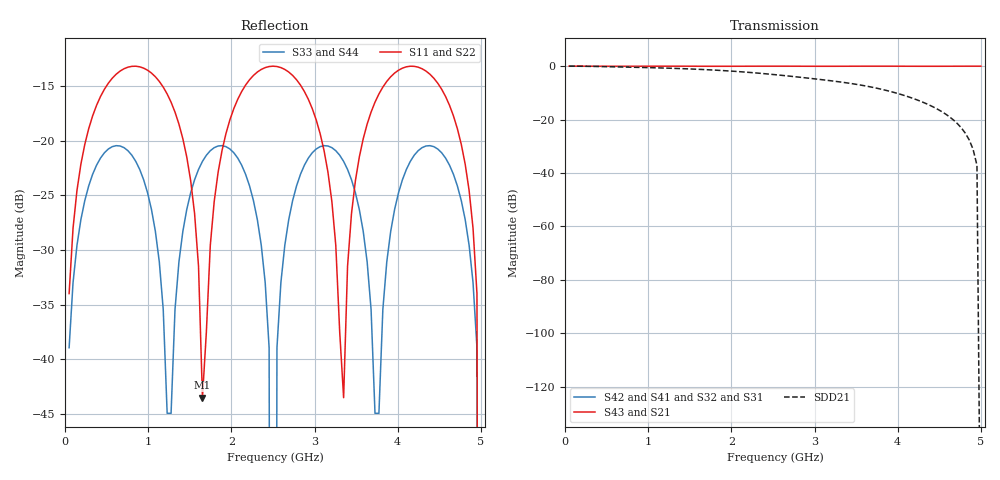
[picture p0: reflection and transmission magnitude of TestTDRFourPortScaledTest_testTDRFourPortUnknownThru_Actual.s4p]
! File created by SignalIntegrity v1.1.3: Signal and Power Integrity Tools
! https://github.com/TeledyneLeCroy/SignalIntegrity
# MHz MA S R 50.0
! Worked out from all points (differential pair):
!   106 points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, 47.17 MHz to 5 GHz, reference 50 ohm
!   strongest paths, dB at 47.17 MHz, 1.274 GHz, 2.547 GHz, 3.774 GHz, 5 GHz:
!     S43: 0.0, 0.0, 0.0, 0.0, 0.0
!     S21: 0.0, -0.1, -0.2, -0.1, 0.0
!     S42: -, -, -, -, -
!     S41: -, -, -, -, -
!     S32: -, -, -, -, -
!     S31: -, -, -, -, -
!   taken as a pair (ports 3,1 in; 4,2 out), SDD21 dB: 0.0, -0.8, -3.3, -8.4, -
!   lowest |S11| = -43.5 dB at 1.651 GHz (marker M1), VSWR 1.01, Z = 50 + j0.666 ohm
!   |S11| at or under -10 dB: start of sweep to end of sweep
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47.16981  0.01997 -95.2  0.9998 -5.2  0 0.0  0 0.0
          0.9998 -5.2  0.01997 -95.2  0 0.0  0 0.0
          0 0.0  0 0.0  0.01129 83.2  0.9999 -6.8
          0 0.0  0 0.0  0.9999 -6.8  0.01129 83.2
1650.943  0.006667 91.7  1 -178.3  0 0.0  0 0.0
          1 -178.3  0.006667 91.7  0 0.0  0 0.0
          0 0.0  0 0.0  0.08045 32.1  0.9968 122.1
          0 0.0  0 0.0  0.9968 122.1  0.08045 32.1
2358.491  0.2121 -165.1  0.9772 104.9  0 0.0  0 0.0
          0.9772 104.9  0.2121 -165.1  0 0.0  0 0.0
          0 0.0  0 0.0  0.03322 -69.5  0.9994 20.5
          0 0.0  0 0.0  0.9994 20.5  0.03322 -69.5
2500  0.2195 180.0  0.9756 90.0  0 0.0  0 0.0
      0.9756 90.0  0.2195 180.0  0 0.0  0 0.0
      0 0.0  0 0.0  0 166.8  1 -0.0
      0 0.0  0 0.0  1 -0.0  0 166.8
2735.849  0.1991 155.1  0.98 65.1  0 0.0  0 0.0
          0.98 65.1  0.1991 155.1  0 0.0  0 0.0
          0 0.0  0 0.0  0.05325 55.9  0.9986 -34.1
          0 0.0  0 0.0  0.9986 -34.1  0.05325 55.9
4481.132  0.1835 146.7  0.983 -123.3  0 0.0  0 0.0
          0.983 -123.3  0.1835 146.7  0 0.0  0 0.0
          0 0.0  0 0.0  0.09169 -15.2  0.9958 74.8
          0 0.0  0 0.0  0.9958 74.8  0.09169 -15.2
5000  0 -172.6  1 180.0  0 0.0  0 0.0
      1 180.0  0 -172.6  0 0.0  0 0.0
      0 0.0  0 0.0  0 180.0  1 -0.0
      0 0.0  0 0.0  1 -0.0  0 180.0
